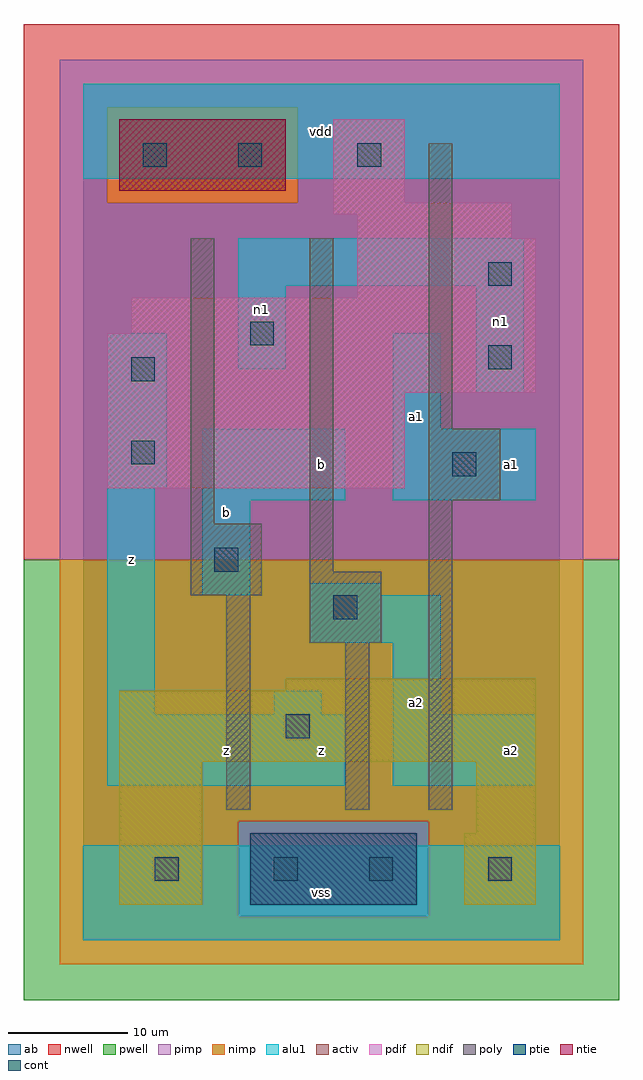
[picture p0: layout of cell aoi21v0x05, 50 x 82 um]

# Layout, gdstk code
import gdstk
lib = gdstk.Library(unit=1e-6, precision=1e-09)
def R(c, l, rs):  # rectangles x0, y0, x1, y1
    for r in rs: c.add(gdstk.rectangle(r[:2], r[2:], *l))
ndif = (3, 0)
pdif = (4, 0)
ntie = (5, 0)
ptie = (6, 0)
cont = (25, 0)
pwell = (41, 0)
nwell = (42, 0)
activ = (43, 0)
pimp = (44, 0)
nimp = (45, 0)
poly = (46, 0)
alu1 = (49, 0)
ab = (63, 0)

aoi21v0x05 = lib.new_cell('aoi21v0x05')
R(aoi21v0x05, ndif, [(3,3,10,15), (32,3,38,9), (33,9,38,15), (3,15,38,21), (17,21,38,22)])
R(aoi21v0x05, pdif, [(2,38,27,46), (2,46,38,51), (4,51,38,54), (23,54,38,59), (23,59,36,61), (21,61,36,62), (21,62,27,69)])
R(aoi21v0x05, ntie, [(3,63,17,69)])
R(aoi21v0x05, ptie, [(14,3,28,9)])
R(aoi21v0x05, cont, [(6,5,8,7), (16,5,18,7), (24,5,26,7), (34,5,36,7), (17,17,19,19), (21,27,23,29), (11,31,13,33), (31,39,33,41), (4,40,6,42), (4,47,6,49), (34,48,36,50), (14,50,16,52), (34,55,36,57), (5,65,7,67), (13,65,15,67), (23,65,25,67)])
R(aoi21v0x05, pwell, [(-5,-5,45,32)])
R(aoi21v0x05, nwell, [(-5,32,45,77)])
R(aoi21v0x05, activ, [(3,3,10,15), (14,3,28,9), (32,3,38,9), (33,9,38,15), (3,15,38,21), (17,21,38,22), (2,38,27,46), (2,46,38,51), (4,51,38,54), (23,54,38,59), (23,59,36,61), (21,61,36,62), (21,62,27,69), (3,63,17,69)])
R(aoi21v0x05, pimp, [(13,2,29,10), (-2,32,42,62), (-2,62,2,70), (18,62,42,70), (-2,70,42,74)])
R(aoi21v0x05, nimp, [(-2,-2,42,2), (-2,2,13,10), (29,2,42,10), (-2,10,42,32), (2,62,18,70)])
R(aoi21v0x05, poly, [(12,11,14,29), (22,11,24,25), (29,11,31,37), (19,25,25,31), (9,29,15,35), (19,31,21,59), (9,35,11,59), (29,37,35,43), (29,43,31,67)])
R(aoi21v0x05, alu1, [(0,0,40,8), (2,13,22,19), (26,13,38,19), (2,19,6,38), (16,19,20,21), (26,19,30,25), (19,25,30,29), (10,29,14,37), (19,29,25,30), (10,37,22,43), (26,37,38,43), (2,38,7,51), (26,43,30,51), (33,46,37,55), (13,48,17,55), (13,55,37,59), (0,64,40,72)])
R(aoi21v0x05, ab, [(0,0,40,72)])
aoi21v0x05.add(gdstk.Label('n1', (15,53), layer=49, texttype=0))
aoi21v0x05.add(gdstk.Label('n1', (35,52), layer=49, texttype=0))
aoi21v0x05.add(gdstk.Label('z', (4,32), layer=49, texttype=0))
aoi21v0x05.add(gdstk.Label('z', (12,16), layer=49, texttype=0))
aoi21v0x05.add(gdstk.Label('b', (12,36), layer=49, texttype=0))
aoi21v0x05.add(gdstk.Label('vss', (20,4), layer=49, texttype=0))
aoi21v0x05.add(gdstk.Label('a2', (28,20), layer=49, texttype=0))
aoi21v0x05.add(gdstk.Label('z', (20,16), layer=49, texttype=0))
aoi21v0x05.add(gdstk.Label('b', (20,40), layer=49, texttype=0))
aoi21v0x05.add(gdstk.Label('a1', (28,44), layer=49, texttype=0))
aoi21v0x05.add(gdstk.Label('vdd', (20,68), layer=49, texttype=0))
aoi21v0x05.add(gdstk.Label('a2', (36,16), layer=49, texttype=0))
aoi21v0x05.add(gdstk.Label('a1', (36,40), layer=49, texttype=0))

lib.write_gds('aoi21v0x05.gds')
